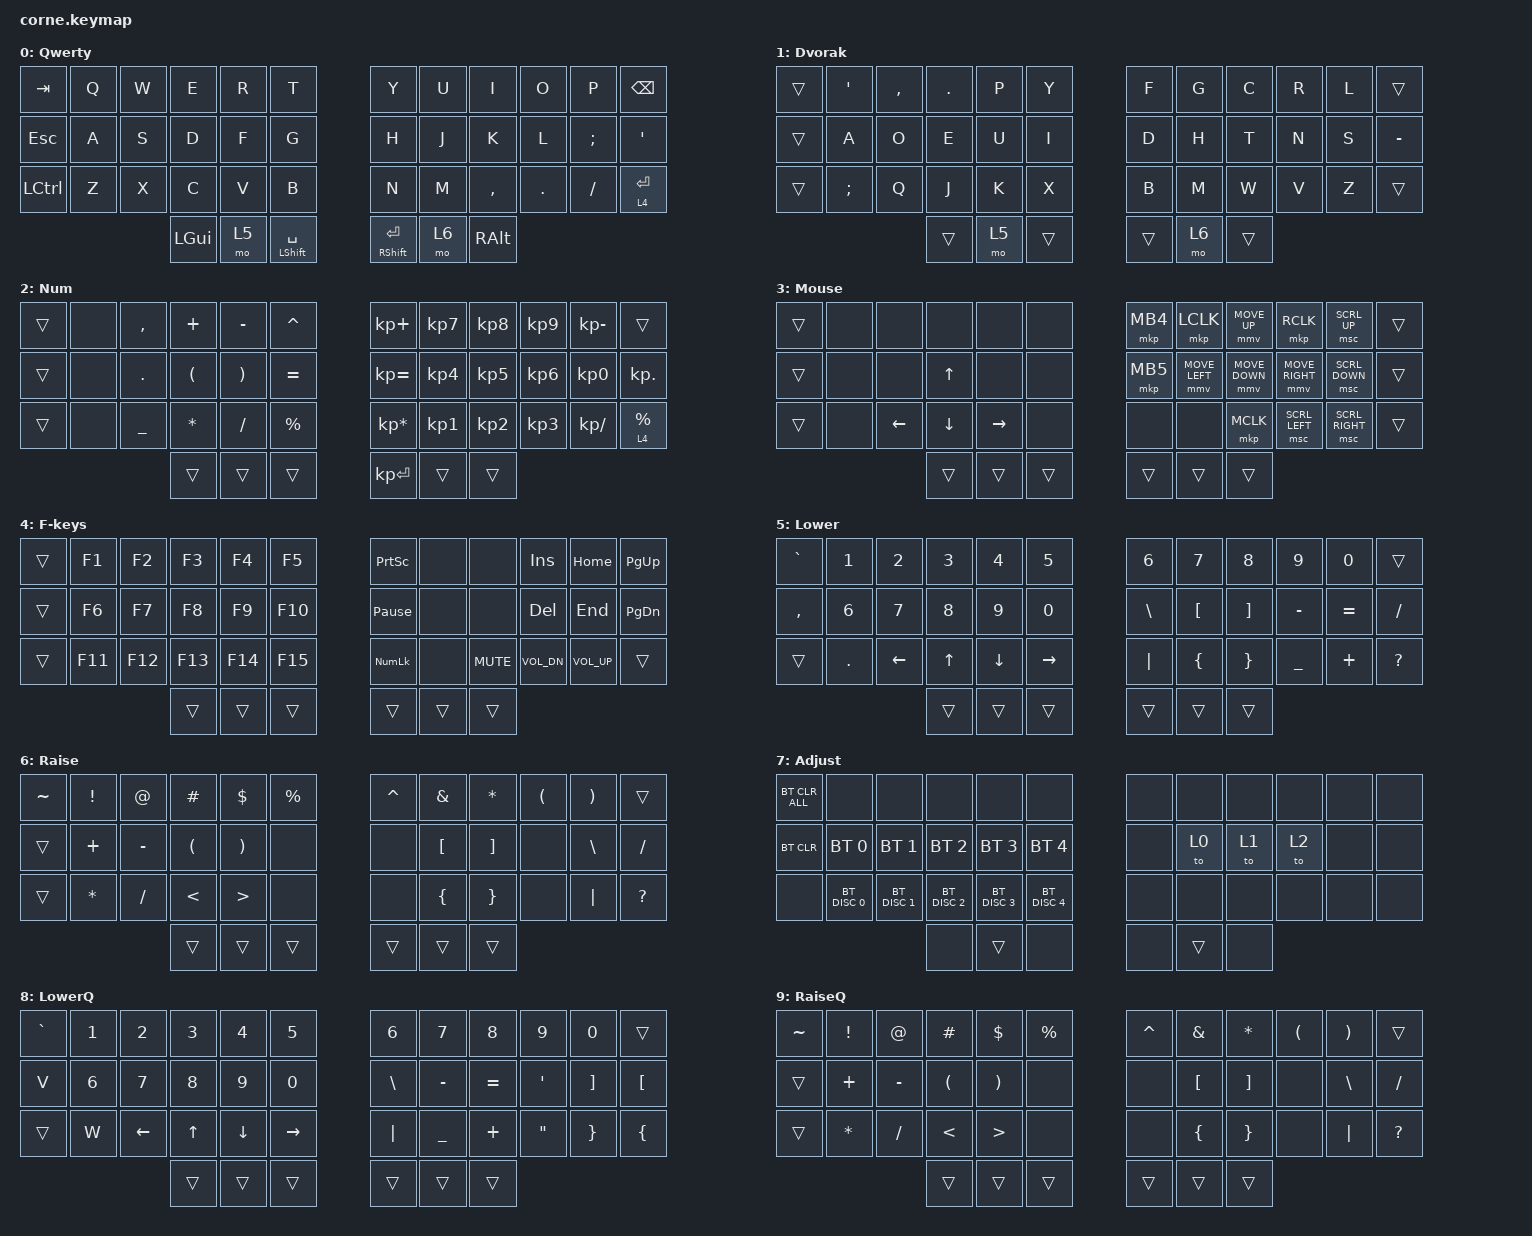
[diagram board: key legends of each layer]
/*
 * Copyright (c) 2020 The ZMK Contributors
 *
 * SPDX-License-Identifier: MIT
 */

#include <behaviors.dtsi>
#include <dt-bindings/zmk/bt.h>
#include <dt-bindings/zmk/keys.h>
#include <dt-bindings/zmk/pointing.h>

/ {
    combos {
        compatible = "zmk,combos";

        copy_ {
            bindings = <&kp LC(LS(C))>;
            key-positions = <1 2>;
        };

        paste_ {
            bindings = <&kp LC(LS(V))>;
            key-positions = <3 4>;
        };

        caps {
            bindings = <&kp CAPS>;
            key-positions = <17 18>;
        };

        all {
            bindings = <&kp LC(A)>;
            key-positions = <25 13>;
        };

        save {
            bindings = <&kp LC(S)>;
            key-positions = <25 14>;
        };

        cut {
            bindings = <&kp LC(X)>;
            key-positions = <25 26>;
        };

        copy {
            bindings = <&kp LC(C)>;
            key-positions = <25 27>;
        };

        paste {
            bindings = <&kp LC(V)>;
            key-positions = <25 28>;
        };

        left_delete {
            bindings = <&kp DEL>;
            key-positions = <4 5>;
        };

        left_bspc {
            bindings = <&kp BSPC>;
            key-positions = <17 16>;
        };

        left_enter {
            bindings = <&kp ENTER>;
            key-positions = <29 28>;
        };

        toggle_mouse {
            bindings = <&tog 3>;
            key-positions = <33 34 35>;
        };

        bspc_del {
            bindings = <&kp DEL>;
            key-positions = <11 10>;
        };

        prev_tab {
            bindings = <&kp LC(LS(TAB))>;
            key-positions = <8 7>;
        };

        next_tab {
            bindings = <&kp LC(TAB)>;
            key-positions = <10 9>;
        };

        close_tab {
            bindings = <&kp LC(W)>;
            key-positions = <8 9>;
        };

        recent_tab {
            bindings = <&kp LC(LS(T))>;
            key-positions = <20 21>;
        };

        new_tab {
            bindings = <&kp LC(T)>;
            key-positions = <32 33>;
        };

        firefox_incognito {
            bindings = <&kp LC(LS(P))>;
            key-positions = <6 7>;
        };

        chrome_incognito {
            bindings = <&kp LC(LS(N))>;
            key-positions = <18 19>;
        };

        new_window {
            bindings = <&kp LC(N)>;
            key-positions = <30 31>;
        };

        low_q {
            bindings = <&mo 8>;
            key-positions = <37 29>;
        };

        raise_q {
            bindings = <&mo 9>;
            key-positions = <40 30>;
        };
    };

    keymap {
        compatible = "zmk,keymap";

        qwerty {
            display-name = "Qwerty";
            bindings = <
&kp TAB    &kp Q  &kp W  &kp E     &kp R  &kp T              &kp Y            &kp U  &kp I      &kp O    &kp P     &kp BSPC
&kp ESC    &kp A  &kp S  &kp D     &kp F  &kp G              &kp H            &kp J  &kp K      &kp L    &kp SEMI  &kp SQT
&kp LCTRL  &kp Z  &kp X  &kp C     &kp V  &kp B              &kp N            &kp M  &kp COMMA  &kp DOT  &kp FSLH  &lt 4 ENTER
                         &kp LGUI  &mo 5  &mt LSHFT SPACE    &mt RSHFT ENTER  &mo 6  &kp RALT
            >;
        };

        dvorak {
            display-name = "Dvorak";
            bindings = <
&trans  &kp SQT   &kp COMMA  &kp DOT  &kp P  &kp Y     &kp F   &kp G  &kp C   &kp R  &kp L  &trans
&trans  &kp A     &kp O      &kp E    &kp U  &kp I     &kp D   &kp H  &kp T   &kp N  &kp S  &kp MINUS
&trans  &kp SEMI  &kp Q      &kp J    &kp K  &kp X     &kp B   &kp M  &kp W   &kp V  &kp Z  &trans
                             &trans   &mo 5  &trans    &trans  &mo 6  &trans
            >;
        };

        num {
            display-name = "Num";
            bindings = <
&trans  &none  &kp COMMA       &kp PLUS              &kp MINUS              &kp CARET      &kp KP_PLUS      &kp KP_NUMBER_7  &kp KP_NUMBER_8  &kp KP_NUMBER_9  &kp KP_SUBTRACT  &trans
&trans  &none  &kp DOT         &kp LEFT_PARENTHESIS  &kp RIGHT_PARENTHESIS  &kp EQUAL      &kp KP_EQUAL     &kp KP_NUMBER_4  &kp KP_NUMBER_5  &kp KP_NUMBER_6  &kp KP_NUMBER_0  &kp KP_DOT
&trans  &none  &kp UNDERSCORE  &kp ASTRK             &kp SLASH              &kp PERCENT    &kp KP_MULTIPLY  &kp KP_NUMBER_1  &kp KP_NUMBER_2  &kp KP_NUMBER_3  &kp KP_DIVIDE    &lt 4 PERCENT
                               &trans                &trans                 &trans         &kp KP_ENTER     &trans           &trans
            >;
        };

        mouse {
            display-name = "Mouse";
            bindings = <
&trans  &none  &none     &none     &none      &none     &mkp MB4  &mkp LCLK       &mmv MOVE_UP    &mkp RCLK        &msc SCRL_UP     &trans
&trans  &none  &none     &kp UP    &none      &none     &mkp MB5  &mmv MOVE_LEFT  &mmv MOVE_DOWN  &mmv MOVE_RIGHT  &msc SCRL_DOWN   &trans
&trans  &none  &kp LEFT  &kp DOWN  &kp RIGHT  &none     &none     &none           &mkp MCLK       &msc SCRL_LEFT   &msc SCRL_RIGHT  &trans
                         &trans    &trans     &trans    &trans    &trans          &trans
            >;
        };

        f-keys {
            display-name = "F-keys";
            bindings = <
&trans  &kp F1   &kp F2   &kp F3   &kp F4   &kp F5     &kp PSCRN        &none   &none       &kp INS       &kp HOME      &kp PG_UP
&trans  &kp F6   &kp F7   &kp F8   &kp F9   &kp F10    &kp PAUSE_BREAK  &none   &none       &kp DEL       &kp END       &kp PG_DN
&trans  &kp F11  &kp F12  &kp F13  &kp F14  &kp F15    &kp KP_NUM       &none   &kp C_MUTE  &kp C_VOL_DN  &kp C_VOL_UP  &trans
                          &trans   &trans   &trans     &trans           &trans  &trans
            >;
        };

        lower_D {
            display-name = "Lower";
            bindings = <
&kp GRAVE  &kp N1   &kp N2    &kp N3  &kp N4    &kp N5       &kp N6    &kp N7          &kp N8           &kp N9     &kp N0     &trans
&kp COMMA  &kp N6   &kp N7    &kp N8  &kp N9    &kp N0       &kp BSLH  &kp LBKT        &kp RBKT         &kp MINUS  &kp EQUAL  &kp FSLH
&trans     &kp DOT  &kp LEFT  &kp UP  &kp DOWN  &kp RIGHT    &kp PIPE  &kp LEFT_BRACE  &kp RIGHT_BRACE  &kp UNDER  &kp PLUS   &kp QMARK
                              &trans  &trans    &trans       &trans    &trans          &trans
            >;
        };

        raise_D {
            display-name = "Raise";
            bindings = <
&kp TILDE  &kp EXCL  &kp AT_SIGN  &kp HASH  &kp DLLR  &kp PRCNT    &kp CARET  &kp AMPS  &kp ASTRK  &kp LPAR  &kp RPAR  &trans
&trans     &kp PLUS  &kp MINUS    &kp LPAR  &kp RPAR  &none        &none      &kp LBKT  &kp RBKT   &none     &kp BSLH  &kp FSLH
&trans     &kp STAR  &kp SLASH    &kp LT    &kp GT    &none        &none      &kp LBRC  &kp RBRC   &none     &kp PIPE  &kp QMARK
                                  &trans    &trans    &trans       &trans     &trans    &trans
            >;
        };

        adjust {
            display-name = "Adjust";
            bindings = <
&bt BT_CLR_ALL  &none          &none          &none          &none          &none            &none  &none   &none  &none  &none  &none
&bt BT_CLR      &bt BT_SEL 0   &bt BT_SEL 1   &bt BT_SEL 2   &bt BT_SEL 3   &bt BT_SEL 4     &none  &to 0   &to 1  &to 2  &none  &none
&none           &bt BT_DISC 0  &bt BT_DISC 1  &bt BT_DISC 2  &bt BT_DISC 3  &bt BT_DISC 4    &none  &none   &none  &none  &none  &none
                                              &none          &trans         &none            &none  &trans  &none
            >;
        };

        lowerQ {
            display-name = "LowerQ";
            bindings = <
&kp GRAVE  &kp N1  &kp N2    &kp N3  &kp N4    &kp N5       &kp N6    &kp N7          &kp N8     &kp N9             &kp N0    &trans
&kp V      &kp N6  &kp N7    &kp N8  &kp N9    &kp N0       &kp BSLH  &kp MINUS       &kp EQUAL  &kp SINGLE_QUOTE   &kp RBKT  &kp LBKT
&trans     &kp W   &kp LEFT  &kp UP  &kp DOWN  &kp RIGHT    &kp PIPE  &kp UNDERSCORE  &kp PLUS   &kp DOUBLE_QUOTES  &kp RBRC  &kp LBRC
                             &trans  &trans    &trans       &trans    &trans          &trans
            >;
        };

        raiseQ {
            display-name = "RaiseQ";
            bindings = <
&kp TILDE  &kp EXCL  &kp AT_SIGN  &kp HASH  &kp DLLR  &kp PRCNT    &kp CARET  &kp AMPS  &kp ASTRK  &kp LPAR  &kp RPAR  &trans
&trans     &kp PLUS  &kp MINUS    &kp LPAR  &kp RPAR  &none        &none      &kp LBKT  &kp RBKT   &none     &kp BSLH  &kp FSLH
&trans     &kp STAR  &kp SLASH    &kp LT    &kp GT    &none        &none      &kp LBRC  &kp RBRC   &none     &kp PIPE  &kp QMARK
                                  &trans    &trans    &trans       &trans     &trans    &trans
            >;
        };
    };

    conditional_layers {
        compatible = "zmk,conditional-layers";

        tri_layer {
            if-layers = <5 6>;
            then-layer = <7>;
        };
    };
};

